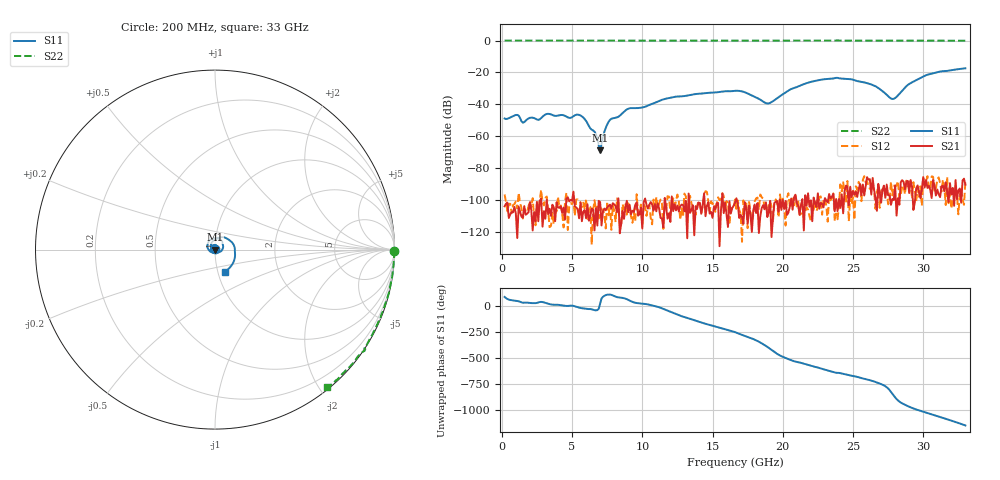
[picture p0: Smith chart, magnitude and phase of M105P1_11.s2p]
# GHZ S RI R 50
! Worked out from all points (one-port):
!   329 points, 200 MHz to 33 GHz, reference 50 ohm
!   lowest |S11| = -68.8 dB at 7 GHz (marker M1), VSWR 1.00, Z = 50 + j0.0123 ohm
!   |S11| at or under -10 dB: start of sweep to end of sweep
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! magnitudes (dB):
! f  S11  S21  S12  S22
! 200 MHz  -48.8  -103.9  -96.5  0.0
! 1.1 GHz  -46.6  -123.8  -105.2  0.0
! 1.5 GHz  -51.5  -111.0  -111.6  0.0
! 3.3 GHz  -45.9  -108.9  -106.0  0.0
! 5.7 GHz  -47.5  -113.2  -104.4  0.0
! 6.7 GHz  -58.6  -105.0  -105.5  0.0
! 7 GHz  -68.8  -101.2  -102.6  0.0
! 7.3 GHz  -57.2  -105.3  -108.8  0.0
! 7.7 GHz  -49.7  -103.0  -102.9  0.0
! 9 GHz  -42.8  -107.6  -102.0  0.0
! 11.2 GHz  -37.9  -105.3  -102.0  0.0
! 16.6 GHz  -31.5  -101.9  -99.7  0.0
! 19 GHz  -39.4  -107.6  -102.6  0.0
! 20.6 GHz  -30.4  -99.1  -104.1  -0.1
! 22.1 GHz  -25.7  -113.2  -106.2  0.0
! 24.9 GHz  -24.3  -98.1  -102.7  0.0
! 26.6 GHz  -28.7  -99.0  -105.5  0.0
! 27.6 GHz  -35.7  -97.1  -100.6  0.0
! 28 GHz  -36.0  -90.7  -91.7  0.0
! 28.9 GHz  -27.9  -87.9  -91.4  -0.1
! 30.2 GHz  -21.7  -87.5  -88.0  -0.1
! 33 GHz  -17.4  -90.3  -88.3  -0.1
